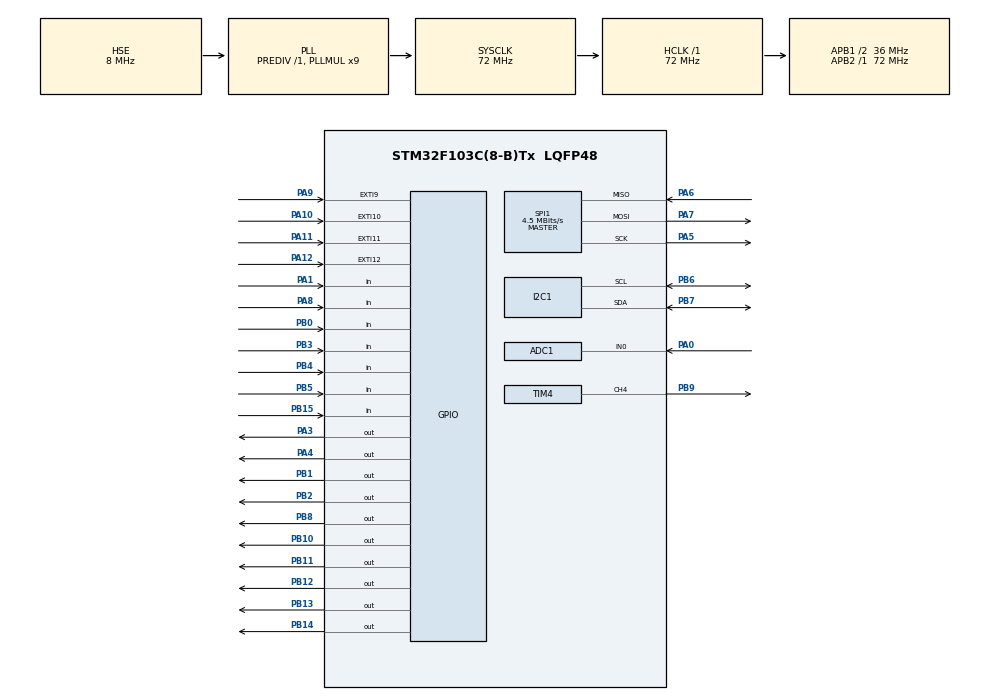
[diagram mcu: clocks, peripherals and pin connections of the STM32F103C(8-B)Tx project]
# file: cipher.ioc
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ADC1.Channel-0\#ChannelRegularConversion=ADC_CHANNEL_0
ADC1.NbrOfConversionFlag=1
ADC1.Rank-0\#ChannelRegularConversion=1
ADC1.SamplingTime-0\#ChannelRegularConversion=ADC_SAMPLETIME_1CYCLE_5
ADC1.master=1
I2C1.I2C_Mode=I2C_Fast
Mcu.Family=STM32F1
Mcu.Name=STM32F103C(8-B)Tx
Mcu.Package=LQFP48
NVIC.EXTI15_10_IRQn=true\:0\:0\:false\:false\:true\:true\:true\:true
NVIC.EXTI9_5_IRQn=true\:0\:0\:false\:false\:true\:true\:true\:true
NVIC.PriorityGroup=NVIC_PRIORITYGROUP_4
NVIC.TIM2_IRQn=true\:0\:0\:false\:false\:true\:true\:true\:true
PA0-WKUP.Signal=ADCx_IN0
PA1.GPIO_PuPd=GPIO_PULLUP
PA1.Signal=GPIO_Input
PA10.Signal=GPXTI10
PA11.Signal=GPXTI11
PA12.Signal=GPXTI12
PA13.Mode=Serial_Wire
PA13.Signal=SYS_JTMS-SWDIO
PA14.Mode=Serial_Wire
PA14.Signal=SYS_JTCK-SWCLK
PA3.Signal=GPIO_Output
PA4.Signal=GPIO_Output
PA5.Mode=Full_Duplex_Master
PA5.Signal=SPI1_SCK
PA6.Mode=Full_Duplex_Master
PA6.Signal=SPI1_MISO
PA7.Mode=Full_Duplex_Master
PA7.Signal=SPI1_MOSI
PA8.Signal=GPIO_Input
PA9.Signal=GPXTI9
PB0.Signal=GPIO_Input
PB1.Signal=GPIO_Output
PB10.Signal=GPIO_Output
PB11.Signal=GPIO_Output
PB12.Signal=GPIO_Output
PB13.Signal=GPIO_Output
PB14.Signal=GPIO_Output
PB15.Signal=GPIO_Input
PB2.Signal=GPIO_Output
PB3.GPIO_PuPd=GPIO_PULLUP
PB3.Signal=GPIO_Input
PB4.GPIO_PuPd=GPIO_PULLUP
PB4.Signal=GPIO_Input
PB5.GPIO_PuPd=GPIO_PULLUP
PB5.Signal=GPIO_Input
PB6.Mode=I2C
PB6.Signal=I2C1_SCL
PB7.Mode=I2C
PB7.Signal=I2C1_SDA
PB8.Signal=GPIO_Output
PB9.Signal=S_TIM4_CH4
PD0-OSC_IN.Mode=HSE-External-Oscillator
PD0-OSC_IN.Signal=RCC_OSC_IN
PD1-OSC_OUT.Mode=HSE-External-Oscillator
PD1-OSC_OUT.Signal=RCC_OSC_OUT
ProjectManager.HeapSize=0x200
ProjectManager.StackSize=0x400
ProjectManager.TargetToolchain=CMake
RCC.ADCPresc=RCC_ADCPCLK2_DIV6
RCC.AHBFreq_Value=72000000
RCC.APB1CLKDivider=RCC_HCLK_DIV2
RCC.APB1Freq_Value=36000000
RCC.APB1TimFreq_Value=72000000
RCC.APB2Freq_Value=72000000
RCC.APB2TimFreq_Value=72000000
RCC.HCLKFreq_Value=72000000
RCC.PLLMUL=RCC_PLL_MUL9
RCC.PLLSourceVirtual=RCC_PLLSOURCE_HSE
RCC.SYSCLKFreq_VALUE=72000000
RCC.SYSCLKSource=RCC_SYSCLKSOURCE_PLLCLK
RCC.USBFreq_Value=72000000
SH.ADCx_IN0.0=ADC1_IN0,IN0
SH.S_TIM4_CH4.0=TIM4_CH4,PWM Generation4 CH4
SPI1.BaudRatePrescaler=SPI_BAUDRATEPRESCALER_16
SPI1.CalculateBaudRate=4.5 MBits/s
SPI1.Direction=SPI_DIRECTION_2LINES
SPI1.Mode=SPI_MODE_MASTER
SPI1.VirtualType=VM_MASTER
TIM2.AutoReloadPreload=TIM_AUTORELOAD_PRELOAD_ENABLE
TIM2.Period=999
TIM2.Prescaler=7199
TIM4.Channel-PWM\ Generation4\ CH4=TIM_CHANNEL_4
VP_TIM2_VS_ClockSourceINT.Mode=Internal
VP_TIM4_VS_ClockSourceINT.Mode=Internal
board=custom

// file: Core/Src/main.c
/* USER CODE BEGIN Header */
/**
 ******************************************************************************
 * @file           : main.c
 * @brief          : Main program body
 ******************************************************************************
 */
/* USER CODE END Header */
#include "main.h"

#include "adc.h"
#include "gpio.h"
#include "i2c.h"
#include "spi.h"
#include "tim.h"

/* USER CODE BEGIN Includes */
#include <stdio.h>
#include <stdlib.h>
#include <string.h>

#include "fonts.h"
#include "rc522.h"
#include "ssd1306.h"
/* USER CODE END Includes */

/* USER CODE BEGIN PV */
typedef enum {
  STAGE_POT,
  STAGE_ULTRASONIC,
  STAGE_BUTTON_HOLD,
  STAGE_DHT_KEYPAD,
  STAGE_KEYPAD_PASSCODE
} StageType;

typedef struct {
  StageType type;
  char question[32];
  int answer;
  int tolerance;
  int hold_time_ms;
} Stage;

typedef struct {
  char question[32];
  int answer;
} QA;

QA pot_q[5] = {
    {"d/dx(3x2) at x=2", 12}, {"d/dx(5x3) at x=1", 15},
    {"d/dx(4x2) at x=3", 24}, {"d/dx(x4) at x=2", 32},
    {"d/dx(2x2+3x) x=3", 15},
};

QA alg_q[5] = {
    {"2x + 5 = 17", 6}, {"3x - 4 = 11", 5},   {"x/2 + 3 = 9", 12},
    {"4x + 1 = 25", 6}, {"5x - 10 = 40", 10},
};

int ultra_targets[4] = {10, 15, 20, 25};
int hold_times[4] = {3000, 4000, 5000, 6000};

Stage stages[6] = {
    {STAGE_POT, "", 0, 2, 0},
    {STAGE_POT, "", 0, 2, 0},
    {STAGE_ULTRASONIC, "", 0, 2, 0},
    {STAGE_BUTTON_HOLD, "HOLD BTN 4s", 0, 0, 4000},
    {STAGE_DHT_KEYPAD, "ROUND TO NEAREST 5", 0, 0, 0},
    {STAGE_KEYPAD_PASSCODE, "SET VAULT PASSCODE", 0, 0, 0},
};

volatile GameState game_state = STATE_SLEEP;
volatile uint32_t countdown_ms = 90000;
volatile uint8_t oled_flash_timer = 0;

int current_stage = 0;
int lives = 3;
/* USER CODE END PV */

void SystemClock_Config(void);
/* USER CODE BEGIN PFP */
void DWT_Init(void);
void delay_us(uint32_t us);
void oled_clear(void);
void oled_print(uint8_t x, uint8_t y, const char* text);
void oled_show_2lines(const char* line1, const char* line2);
void oled_show_timer(void);
uint8_t read_pot(void);
uint8_t btn_pressed(void);
uint8_t ir_detected(void);
char scan_keypad(void);
uint8_t dht11_read(uint8_t* temp, uint8_t* humidity);
uint32_t hcsr04_read_cm(void);
void buzzer_tone(uint16_t freq_hz, uint32_t duration_ms);
void buzzer_stop(void);
void update_buzzer_tick(void);
void run_stage(void);
void handle_pass(void);
void handle_fail(void);
/* USER CODE END PFP */

/* USER CODE BEGIN 0 */

void DWT_Init(void) {
  CoreDebug->DEMCR |= CoreDebug_DEMCR_TRCENA_Msk;
  DWT->CYCCNT = 0;
  DWT->CTRL |= DWT_CTRL_CYCCNTENA_Msk;
}

void delay_us(uint32_t us) {
  uint32_t start = DWT->CYCCNT;
  uint32_t ticks = us * (SystemCoreClock / 1000000);
  while ((DWT->CYCCNT - start) < ticks);
}

void oled_clear(void) {
  SSD1306_Fill(SSD1306_COLOR_BLACK);
  SSD1306_UpdateScreen();
}

void oled_print(uint8_t x, uint8_t y, const char* text) {
  SSD1306_GotoXY(x, y);
  SSD1306_Puts((char*)text, &Font_7x10, 1);
  SSD1306_UpdateScreen();
}

void oled_show_2lines(const char* line1, const char* line2) {
  SSD1306_Fill(SSD1306_COLOR_BLACK);
  SSD1306_GotoXY(0, 10);
  SSD1306_Puts((char*)line1, &Font_7x10, 1);
  SSD1306_GotoXY(0, 30);
  SSD1306_Puts((char*)line2, &Font_7x10, 1);
  SSD1306_UpdateScreen();
}

void oled_show_timer(void) {
  char buf[16];
  uint32_t secs = countdown_ms / 1000;
  snprintf(buf, sizeof(buf), "TIME: %02lus", secs);
  SSD1306_GotoXY(0, 48);
  if (oled_flash_timer && (HAL_GetTick() % 500 < 250))
    SSD1306_Puts(buf, &Font_7x10, 0);
  else
    SSD1306_Puts(buf, &Font_7x10, 1);
}

uint8_t read_pot(void) {
  HAL_ADC_Start(&hadc1);
  HAL_ADC_PollForConversion(&hadc1, 10);
  uint16_t adc = HAL_ADC_GetValue(&hadc1);
  HAL_ADC_Stop(&hadc1);
  return (uint8_t)((adc * 99) / 4095);
}

uint8_t btn_pressed(void) {
  return HAL_GPIO_ReadPin(GPIOA, GPIO_PIN_1) == GPIO_PIN_RESET;
}

uint8_t ir_detected(void) {
  return HAL_GPIO_ReadPin(GPIOB, GPIO_PIN_15) == GPIO_PIN_RESET;
}

volatile char last_key = 0;
volatile uint32_t key_tick = 0;

char scan_keypad(void) {
  if (last_key != 0) {
    char k = last_key;
    last_key = 0;
    return k;
  }
  return 0;
}

uint8_t dht11_read(uint8_t* temp, uint8_t* humidity) {
  uint8_t data[5] = {0};
  GPIO_InitTypeDef g = {0};

  g.Pin = GPIO_PIN_0;
  g.Mode = GPIO_MODE_OUTPUT_PP;
  g.Speed = GPIO_SPEED_FREQ_HIGH;
  HAL_GPIO_Init(GPIOB, &g);
  HAL_GPIO_WritePin(GPIOB, GPIO_PIN_0, GPIO_PIN_RESET);
  HAL_Delay(18);
  HAL_GPIO_WritePin(GPIOB, GPIO_PIN_0, GPIO_PIN_SET);
  delay_us(30);

  g.Mode = GPIO_MODE_INPUT;
  g.Pull = GPIO_NOPULL;
  HAL_GPIO_Init(GPIOB, &g);

  uint32_t t = HAL_GetTick();
  while (!HAL_GPIO_ReadPin(GPIOB, GPIO_PIN_0))
    if (HAL_GetTick() - t > 2) return 0;
  while (HAL_GPIO_ReadPin(GPIOB, GPIO_PIN_0))
    if (HAL_GetTick() - t > 2) return 0;

  for (int i = 0; i < 40; i++) {
    t = HAL_GetTick();
    while (!HAL_GPIO_ReadPin(GPIOB, GPIO_PIN_0))
      if (HAL_GetTick() - t > 2) return 0;
    delay_us(40);
    data[i / 8] <<= 1;
    if (HAL_GPIO_ReadPin(GPIOB, GPIO_PIN_0)) data[i / 8] |= 1;
    t = HAL_GetTick();
    while (HAL_GPIO_ReadPin(GPIOB, GPIO_PIN_0))
      if (HAL_GetTick() - t > 2) return 0;
  }

  if (data[4] != ((data[0] + data[1] + data[2] + data[3]) & 0xFF)) return 0;
  *humidity = data[0];
  *temp = data[2];
  return 1;
}

uint32_t hcsr04_read_cm(void) {
  uint32_t start, elapsed;

  // Trigger pulse (10us)
  HAL_GPIO_WritePin(GPIOB, GPIO_PIN_1, GPIO_PIN_RESET);
  delay_us(2);
  HAL_GPIO_WritePin(GPIOB, GPIO_PIN_1, GPIO_PIN_SET);
  delay_us(10);
  HAL_GPIO_WritePin(GPIOB, GPIO_PIN_1, GPIO_PIN_RESET);

  // Wait for echo HIGH (timeout 30ms)
  uint32_t t = HAL_GetTick();
  while (!HAL_GPIO_ReadPin(GPIOA, GPIO_PIN_8)) {
    if (HAL_GetTick() - t > 30) return 999;
  }
  start = DWT->CYCCNT;

  // Wait for echo LOW (timeout 100ms)
  t = HAL_GetTick();
  while (HAL_GPIO_ReadPin(GPIOA, GPIO_PIN_8)) {
    if (HAL_GetTick() - t > 100) return 999;
  }
  elapsed = DWT->CYCCNT - start;

  // Convert cycles to cm (72MHz clock)
  uint32_t us = elapsed / 72;
  uint32_t cm = us / 58;
  return cm;
}

void buzzer_tone(uint16_t freq_hz, uint32_t duration_ms) {
  if (freq_hz == 0) {
    HAL_TIM_PWM_Stop(&htim4, TIM_CHANNEL_4);
    return;
  }
  uint16_t arr = (uint16_t)((72000000UL / (72UL * freq_hz)) - 1);
  TIM4->ARR = arr;
  TIM4->CCR4 = arr / 2;
  HAL_TIM_PWM_Start(&htim4, TIM_CHANNEL_4);
  if (duration_ms > 0) {
    HAL_Delay(duration_ms);
    HAL_TIM_PWM_Stop(&htim4, TIM_CHANNEL_4);
  }
}

void buzzer_stop(void) { HAL_TIM_PWM_Stop(&htim4, TIM_CHANNEL_4); }

void update_buzzer_tick(void) {
  static uint8_t tick_state = 0;
  static uint32_t tick_counter = 0;
  uint32_t tick_interval;

  if (countdown_ms > 30000)
    tick_interval = 10;
  else if (countdown_ms > 15000)
    tick_interval = 5;
  else
    tick_interval = 2;

  tick_counter++;
  if (tick_counter >= tick_interval) {
    tick_counter = 0;
    tick_state = !tick_state;
    if (tick_state) {
      TIM4->ARR = (uint16_t)((72000000UL / (72UL * 1000UL)) - 1);
      TIM4->CCR4 = TIM4->ARR / 2;
      HAL_TIM_PWM_Start(&htim4, TIM_CHANNEL_4);
    } else {
      HAL_TIM_PWM_Stop(&htim4, TIM_CHANNEL_4);
    }
  }
}

void handle_pass(void) {
  buzzer_stop();
  oled_show_2lines("  STAGE PASSED!", "");
  buzzer_tone(1500, 100);
  HAL_Delay(50);
  buzzer_tone(2000, 150);
  HAL_Delay(800);
  current_stage++;
}

void handle_fail(void) {
  buzzer_stop();
  lives--;
  char buf[16];
  snprintf(buf, sizeof(buf), "LIVES LEFT: %d", lives);
  oled_show_2lines("  WRONG!", buf);
  buzzer_tone(200, 500);
  HAL_Delay(1000);
  if (lives <= 0) game_state = STATE_DENIED;
}

/* USER CODE END 0 */

int main(void) {

  /* MCU Configuration--------------------------------------------------------*/

  /* Reset of all peripherals, Initializes the Flash interface and the Systick.
   */
  HAL_Init();

  /* Configure the system clock */
  SystemClock_Config();

  /* Initialize all configured peripherals */
  MX_GPIO_Init();
  MX_ADC1_Init();
  MX_I2C1_Init();
  MX_SPI1_Init();
  MX_TIM4_Init();
  MX_TIM2_Init();
  /* USER CODE BEGIN 2 */
  int pi, ai, ui;
  DWT_Init();

  HAL_GPIO_WritePin(GPIOB, GPIO_PIN_1, GPIO_PIN_RESET);
  SSD1306_Init();
  RC522_Init();

  HAL_Delay(10);
  uint32_t seed = HAL_GetTick();
  HAL_ADC_Start(&hadc1);
  HAL_ADC_PollForConversion(&hadc1, 10);
  seed ^= HAL_ADC_GetValue(&hadc1) << 3;
  HAL_ADC_Stop(&hadc1);
  srand(seed);

  // burn a few rand calls to decorrelate
  rand();
  rand();
  rand();

  // Randomize questions
  pi = rand() % 5;
  ai = rand() % 5;
  ui = rand() % 4;
  strncpy(stages[0].question, pot_q[pi].question, 32);
  stages[0].answer = pot_q[pi].answer;
  strncpy(stages[1].question, alg_q[ai].question, 32);
  stages[1].answer = alg_q[ai].answer;
  char ultra_buf[20];
  snprintf(ultra_buf, sizeof(ultra_buf), "TARGET: %d cm", ultra_targets[ui]);
  strncpy(stages[2].question, ultra_buf, 32);
  stages[2].answer = ultra_targets[ui];

  oled_show_2lines("  CIPHER v1.0", "WAVE TO WAKE");
  while (ir_detected() == 0);
  buzzer_tone(1000, 200);
  HAL_Delay(300);

  oled_show_2lines("PRESENT CARD", "  TO UNLOCK");
  while (RC522_Detect() == 0);
  buzzer_tone(1200, 150);
  HAL_Delay(100);
  buzzer_tone(1500, 150);
  HAL_Delay(200);

  oled_show_2lines("UNAUTHORIZED", "ACCESS DETECTED");
  buzzer_tone(400, 150);
  HAL_Delay(50);
  buzzer_tone(300, 150);
  HAL_Delay(50);
  buzzer_tone(200, 300);
  HAL_Delay(1000);

  char code_buf[20];
  snprintf(code_buf, sizeof(code_buf), "CODE: %04d", rand() % 10000);
  oled_show_2lines("SECRET CODE", code_buf);
  HAL_Delay(2000);

  oled_show_2lines("HACK INITIATED", "    90s");
  HAL_Delay(1000);

  game_state = STATE_PLAYING;
  current_stage = 0;
  lives = 3;
  countdown_ms = 90000;
  oled_flash_timer = 0;

  HAL_TIM_Base_Start_IT(&htim2);
  /* USER CODE END 2 */

  /* Infinite loop */
  /* USER CODE BEGIN WHILE */
  while (1) {
    if (game_state == STATE_PLAYING) {
      if (current_stage >= 6) {
        game_state = STATE_WIN;
        continue;
      }
      run_stage();
    }

    else if (game_state == STATE_WIN) {
      HAL_TIM_Base_Stop_IT(&htim2);
      buzzer_stop();
      char win_buf[20];
      snprintf(win_buf, sizeof(win_buf), "TIME LEFT: %02lus",
               countdown_ms / 1000);
      oled_show_2lines("SYSTEM UNLOCKED!", win_buf);
      buzzer_tone(1000, 100);
      HAL_Delay(100);
      buzzer_tone(1500, 100);
      HAL_Delay(100);
      buzzer_tone(2000, 100);
      HAL_Delay(100);
      buzzer_tone(2500, 300);
      HAL_Delay(5000);
      goto reset_game;
    }

    else if (game_state == STATE_DENIED) {
      HAL_TIM_Base_Stop_IT(&htim2);
      buzzer_stop();
      oled_show_2lines("ACCESS DENIED", "");
      buzzer_tone(200, 1000);
      HAL_Delay(5000);
      goto reset_game;
    }

    continue;

  reset_game:
    game_state = STATE_PLAYING;
    current_stage = 0;
    lives = 3;
    countdown_ms = 90000;
    oled_flash_timer = 0;
    // Re-randomize questions
    HAL_ADC_Start(&hadc1);
    HAL_ADC_PollForConversion(&hadc1, 10);
    srand(HAL_GetTick() ^ (HAL_ADC_GetValue(&hadc1) << 3));
    HAL_ADC_Stop(&hadc1);
    pi = rand() % 5;
    ai = rand() % 5;
    ui = rand() % 4;
    strncpy(stages[0].question, pot_q[pi].question, 32);
    stages[0].answer = pot_q[pi].answer;
    strncpy(stages[1].question, alg_q[ai].question, 32);
    stages[1].answer = alg_q[ai].answer;
    char ultra_buf2[20];
    snprintf(ultra_buf2, sizeof(ultra_buf2), "TARGET: %d cm",
             ultra_targets[ui]);
    strncpy(stages[2].question, ultra_buf2, 32);
    stages[2].answer = ultra_targets[ui];
    oled_show_2lines("  CIPHER v1.0", "WAVE TO WAKE");
    while (ir_detected() == 0);
    buzzer_tone(1000, 200);
    HAL_Delay(300);
    oled_show_2lines("PRESENT CARD", "  TO UNLOCK");
    while (RC522_Detect() == 0);
    buzzer_tone(1200, 150);
    HAL_Delay(100);
    buzzer_tone(1500, 150);
    HAL_Delay(200);
    oled_show_2lines("HACK INITIATED", "    90s");
    HAL_Delay(1000);
    game_state = STATE_PLAYING;
    HAL_TIM_Base_Start_IT(&htim2);

    /* USER CODE END WHILE */

  }
}

void SystemClock_Config(void) {
  RCC_OscInitTypeDef RCC_OscInitStruct = {0};
  RCC_ClkInitTypeDef RCC_ClkInitStruct = {0};
  RCC_PeriphCLKInitTypeDef PeriphClkInit = {0};

  /** Initializes the RCC Oscillators according to the specified parameters
   * in the RCC_OscInitTypeDef structure.
   */
  RCC_OscInitStruct.OscillatorType = RCC_OSCILLATORTYPE_HSE;
  RCC_OscInitStruct.HSEState = RCC_HSE_ON;
  RCC_OscInitStruct.HSEPredivValue = RCC_HSE_PREDIV_DIV1;
  RCC_OscInitStruct.HSIState = RCC_HSI_ON;
  RCC_OscInitStruct.PLL.PLLState = RCC_PLL_ON;
  RCC_OscInitStruct.PLL.PLLSource = RCC_PLLSOURCE_HSE;
  RCC_OscInitStruct.PLL.PLLMUL = RCC_PLL_MUL9;
  if (HAL_RCC_OscConfig(&RCC_OscInitStruct) != HAL_OK) {
    Error_Handler();
  }

  /** Initializes the CPU, AHB and APB buses clocks
   */
  RCC_ClkInitStruct.ClockType = RCC_CLOCKTYPE_HCLK | RCC_CLOCKTYPE_SYSCLK |
                                RCC_CLOCKTYPE_PCLK1 | RCC_CLOCKTYPE_PCLK2;
  RCC_ClkInitStruct.SYSCLKSource = RCC_SYSCLKSOURCE_PLLCLK;
  RCC_ClkInitStruct.AHBCLKDivider = RCC_SYSCLK_DIV1;
  RCC_ClkInitStruct.APB1CLKDivider = RCC_HCLK_DIV2;
  RCC_ClkInitStruct.APB2CLKDivider = RCC_HCLK_DIV1;

  if (HAL_RCC_ClockConfig(&RCC_ClkInitStruct, FLASH_LATENCY_2) != HAL_OK) {
    Error_Handler();
  }
  PeriphClkInit.PeriphClockSelection = RCC_PERIPHCLK_ADC;
  PeriphClkInit.AdcClockSelection = RCC_ADCPCLK2_DIV6;
  if (HAL_RCCEx_PeriphCLKConfig(&PeriphClkInit) != HAL_OK) {
    Error_Handler();
  }
}

/* USER CODE BEGIN 4 */
void run_stage(void) {
  Stage* s = &stages[current_stage];
  char header[20];
  snprintf(header, sizeof(header), "STAGE %d/6", current_stage + 1);

  if (s->type == STAGE_POT) {
    while (game_state == STATE_PLAYING) {
      uint8_t val = read_pot();
      char val_buf[16];
      snprintf(val_buf, sizeof(val_buf), "VAL: %02d", val);
      SSD1306_Fill(SSD1306_COLOR_BLACK);
      SSD1306_GotoXY(0, 0);
      SSD1306_Puts(header, &Font_7x10, 1);
      SSD1306_GotoXY(0, 14);
      SSD1306_Puts(s->question, &Font_7x10, 1);
      SSD1306_GotoXY(0, 30);
      SSD1306_Puts(val_buf, &Font_7x10, 1);
      oled_show_timer();
      SSD1306_UpdateScreen();
      if (btn_pressed()) {
        HAL_Delay(50);
        if (abs(val - s->answer) <= s->tolerance)
          handle_pass();
        else
          handle_fail();
        return;
      }
    }
  }

  else if (s->type == STAGE_ULTRASONIC) {
    while (game_state == STATE_PLAYING) {
      uint32_t dist = hcsr04_read_cm();
      char dist_buf[20];
      if (dist >= 999)
        snprintf(dist_buf, sizeof(dist_buf), "DIST: --cm");
      else
        snprintf(dist_buf, sizeof(dist_buf), "DIST: %lucm", dist);
      SSD1306_Fill(SSD1306_COLOR_BLACK);
      SSD1306_GotoXY(0, 0);
      SSD1306_Puts(header, &Font_7x10, 1);
      SSD1306_GotoXY(0, 14);
      SSD1306_Puts(s->question, &Font_7x10, 1);
      SSD1306_GotoXY(0, 30);
      SSD1306_Puts(dist_buf, &Font_7x10, 1);
      oled_show_timer();
      SSD1306_UpdateScreen();
      if (btn_pressed()) {
        HAL_Delay(50);
        if (dist < 999 && abs((int)dist - s->answer) <= 3)
          handle_pass();
        else
          handle_fail();
        return;
      }
      HAL_Delay(100);
    }
  }

  else if (s->type == STAGE_BUTTON_HOLD) {
    while (btn_pressed());
    while (!btn_pressed() && game_state == STATE_PLAYING) {
      SSD1306_Fill(SSD1306_COLOR_BLACK);
      SSD1306_GotoXY(0, 0);
      SSD1306_Puts(header, &Font_7x10, 1);
      SSD1306_GotoXY(0, 14);
      SSD1306_Puts("HOLD BTN FOR 4s", &Font_7x10, 1);
      SSD1306_GotoXY(0, 30);
      SSD1306_Puts("PRESS TO START", &Font_7x10, 1);
      oled_show_timer();
      SSD1306_UpdateScreen();
    }
    uint32_t press_start = HAL_GetTick();
    while (btn_pressed() && game_state == STATE_PLAYING) {
      uint32_t held = HAL_GetTick() - press_start;
      char h_buf[20];
      snprintf(h_buf, sizeof(h_buf), "HELD: %lu.%lus", held / 1000,
               (held % 1000) / 100);
      SSD1306_Fill(SSD1306_COLOR_BLACK);
      SSD1306_GotoXY(0, 0);
      SSD1306_Puts(header, &Font_7x10, 1);
      SSD1306_GotoXY(0, 14);
      SSD1306_Puts("HOLD BTN FOR 4s", &Font_7x10, 1);
      SSD1306_GotoXY(0, 30);
      SSD1306_Puts(h_buf, &Font_7x10, 1);
      oled_show_timer();
      SSD1306_UpdateScreen();
      HAL_Delay(100);
    }
    uint32_t held_ms = HAL_GetTick() - press_start;
    if (abs((int)held_ms - s->hold_time_ms) <= 1500)
      handle_pass();
    else
      handle_fail();
  }

  else if (s->type == STAGE_DHT_KEYPAD) {
    uint8_t temp = 0, hum = 0;
    if (!dht11_read(&temp, &hum)) temp = 25;
    int answer = ((temp + 2) / 5) * 5;
    char q_buf[20];
    snprintf(q_buf, sizeof(q_buf), "TEMP:%dC RND/5", temp);
    while (game_state == STATE_PLAYING) {
      uint8_t val = read_pot();
      char val_buf[16];
      snprintf(val_buf, sizeof(val_buf), "ANS: %02d", val);
      SSD1306_Fill(SSD1306_COLOR_BLACK);
      SSD1306_GotoXY(0, 0);
      SSD1306_Puts(header, &Font_7x10, 1);
      SSD1306_GotoXY(0, 14);
      SSD1306_Puts(q_buf, &Font_7x10, 1);
      SSD1306_GotoXY(0, 30);
      SSD1306_Puts(val_buf, &Font_7x10, 1);
      oled_show_timer();
      SSD1306_UpdateScreen();
      if (btn_pressed()) {
        HAL_Delay(50);
        if (abs(val - answer) <= 2)
          handle_pass();
        else
          handle_fail();
        return;
      }
    }
  }

  else if (s->type == STAGE_KEYPAD_PASSCODE) {
    int code1 = 0, code2 = 0;
    int conf1 = 0, conf2 = 0;

    // SET: first half (digits 1&2)
    while (game_state == STATE_PLAYING) {
      uint8_t val = read_pot();
      char set_buf[20];
      snprintf(set_buf, sizeof(set_buf), "DIG 1&2: %02d", val);
      SSD1306_Fill(SSD1306_COLOR_BLACK);
      SSD1306_GotoXY(0, 0);
      SSD1306_Puts(header, &Font_7x10, 1);
      SSD1306_GotoXY(0, 14);
      SSD1306_Puts("SET PASSCODE:", &Font_7x10, 1);
      SSD1306_GotoXY(0, 30);
      SSD1306_Puts(set_buf, &Font_7x10, 1);
      oled_show_timer();
      SSD1306_UpdateScreen();
      if (btn_pressed()) {
        HAL_Delay(200);
        code1 = val;
        break;
      }
    }

    // SET: second half (digits 3&4)
    while (game_state == STATE_PLAYING) {
      uint8_t val = read_pot();
      char set_buf[20];
      snprintf(set_buf, sizeof(set_buf), "DIG 3&4: %02d", val);
      SSD1306_Fill(SSD1306_COLOR_BLACK);
      SSD1306_GotoXY(0, 0);
      SSD1306_Puts(header, &Font_7x10, 1);
      SSD1306_GotoXY(0, 14);
      SSD1306_Puts("SET PASSCODE:", &Font_7x10, 1);
      SSD1306_GotoXY(0, 30);
      SSD1306_Puts(set_buf, &Font_7x10, 1);
      oled_show_timer();
      SSD1306_UpdateScreen();
      if (btn_pressed()) {
        HAL_Delay(200);
        code2 = val;
        break;
      }
    }

    // CONFIRM: first half
    while (game_state == STATE_PLAYING) {
      uint8_t val = read_pot();
      char con_buf[20];
      snprintf(con_buf, sizeof(con_buf), "DIG 1&2: %02d", val);
      SSD1306_Fill(SSD1306_COLOR_BLACK);
      SSD1306_GotoXY(0, 0);
      SSD1306_Puts(header, &Font_7x10, 1);
      SSD1306_GotoXY(0, 14);
      SSD1306_Puts("CONFIRM CODE:", &Font_7x10, 1);
      SSD1306_GotoXY(0, 30);
      SSD1306_Puts(con_buf, &Font_7x10, 1);
      oled_show_timer();
      SSD1306_UpdateScreen();
      if (btn_pressed()) {
        HAL_Delay(200);
        conf1 = val;
        break;
      }
    }

    // CONFIRM: second half
    while (game_state == STATE_PLAYING) {
      uint8_t val = read_pot();
      char con_buf[20];
      snprintf(con_buf, sizeof(con_buf), "DIG 3&4: %02d", val);
      SSD1306_Fill(SSD1306_COLOR_BLACK);
      SSD1306_GotoXY(0, 0);
      SSD1306_Puts(header, &Font_7x10, 1);
      SSD1306_GotoXY(0, 14);
      SSD1306_Puts("CONFIRM CODE:", &Font_7x10, 1);
      SSD1306_GotoXY(0, 30);
      SSD1306_Puts(con_buf, &Font_7x10, 1);
      oled_show_timer();
      SSD1306_UpdateScreen();
      if (btn_pressed()) {
        HAL_Delay(200);
        conf2 = val;
        break;
      }
    }

    if (abs(code1 - conf1) <= 2 && abs(code2 - conf2) <= 2)
      handle_pass();
    else
      handle_fail();
  }
}
void HAL_GPIO_EXTI_Callback(uint16_t GPIO_Pin) {
  uint32_t now = HAL_GetTick();
  if (now - key_tick < 200) return;
  key_tick = now;

  GPIO_InitTypeDef g = {0};
  g.Pin = GPIO_PIN_9 | GPIO_PIN_10 | GPIO_PIN_11 | GPIO_PIN_12;
  g.Mode = GPIO_MODE_INPUT;
  g.Pull = GPIO_NOPULL;
  HAL_GPIO_Init(GPIOA, &g);

  const uint16_t ROWS[4] = {GPIO_PIN_13, GPIO_PIN_14, GPIO_PIN_8, GPIO_PIN_2};
  const char MAP[4][4] = {{'1', '2', '3', 'A'},
                          {'4', '5', '6', 'B'},
                          {'7', '8', '9', 'C'},
                          {'*', '0', '#', 'D'}};
  const uint8_t col = (GPIO_Pin == GPIO_PIN_9)    ? 0
                      : (GPIO_Pin == GPIO_PIN_10) ? 1
                      : (GPIO_Pin == GPIO_PIN_11) ? 2
                                                  : 3;

  for (int r = 0; r < 4; r++) {
    HAL_GPIO_WritePin(GPIOB, ROWS[0] | ROWS[1] | ROWS[2] | ROWS[3],
                      GPIO_PIN_SET);
    HAL_GPIO_WritePin(GPIOB, ROWS[r], GPIO_PIN_RESET);
    delay_us(10);
    if (HAL_GPIO_ReadPin(GPIOA, GPIO_Pin) == GPIO_PIN_SET) {
      last_key = MAP[r][col];
      break;
    }
  }

  HAL_GPIO_WritePin(GPIOB, ROWS[0] | ROWS[1] | ROWS[2] | ROWS[3], GPIO_PIN_SET);

  g.Mode = GPIO_MODE_IT_RISING;
  g.Pull = GPIO_PULLDOWN;
  HAL_GPIO_Init(GPIOA, &g);
}
/* USER CODE END 4 */

void Error_Handler(void) {
  __disable_irq();
  while (1) {
  }
}
#ifdef USE_FULL_ASSERT
/**
 * @brief  Reports the name of the source file and the source line number
 *         where the assert_param error has occurred.
 * @param  file: pointer to the source file name
 * @param  line: assert_param error line source number
 * @retval None
 */
void assert_failed(uint8_t* file, uint32_t line) {
  /* USER CODE BEGIN 6 */
  /* User can add his own implementation to report the file name and line
     number, ex: printf("Wrong parameters value: file %s on line %d\r\n", file,
     line) */
  /* USER CODE END 6 */
}
#endif /* USE_FULL_ASSERT */
